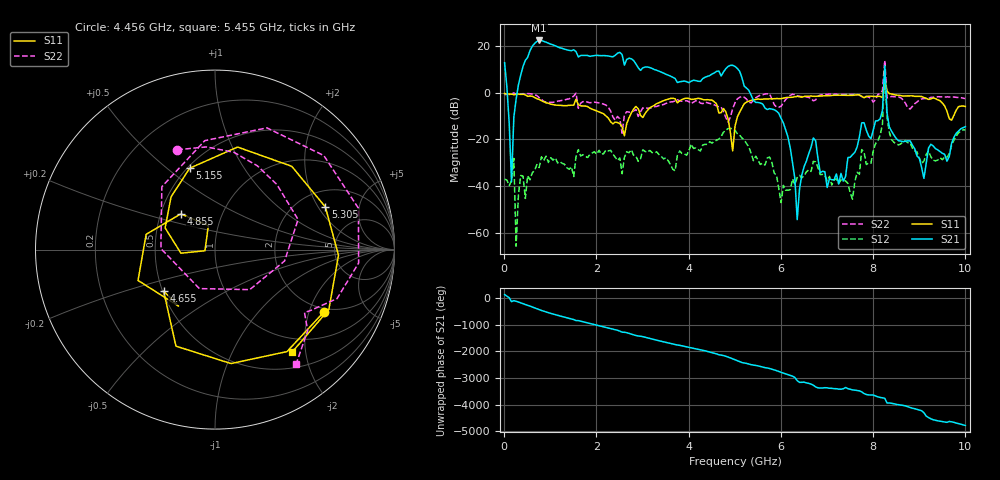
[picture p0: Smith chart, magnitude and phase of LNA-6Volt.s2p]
!Agilent Technologies,N5245A,MY49151071,A.09.90.19
!Agilent N5245A: A.09.90.19
!Date: Friday, June 23, 2023 13:15:27
!Correction: S11(Full 2 Port(1,2))
!S21(Full 2 Port(1,2))
!S12(Full 2 Port(1,2))
!S22(Full 2 Port(1,2))
!S2P File: Measurements: S11, S21, S12, S22:
# Hz S  dB  R 50
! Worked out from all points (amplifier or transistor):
!   201 points, 10 MHz to 10 GHz, reference 50 ohm
!   highest |S21| = 22.5 dB at 759.2 MHz (marker M1)
!   |S21| within 3 dB of that: 595.9 MHz to 1.193 GHz (597.2 MHz wide, 66.8 % of centre)
!   unconditionally stable (mu >= 1): 2.066 GHz to 4.893 GHz; 5.173 GHz to 8.145 GHz; 8.346 GHz to end of sweep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
!   at 1.658 GHz: K = 0.99, MSG = 21.6 dB, |S12| = -27.1 dB
!   at 5.005 GHz: K = 0.92, MSG = 13.7 dB, |S12| = -16.1 dB
!   at 10 GHz: K = 5.41, MAG = -9.6 dB, |S12| = -16.0 dB
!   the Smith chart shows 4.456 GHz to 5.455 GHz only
!   S11 on the Smith chart (normalised r, x): 4.456 GHz: 1.86, -2.53; 4.655 GHz: 0.51, -0.27; 4.855 GHz: 0.63, +0.27; 5.155 GHz: 0.51, +0.60; 5.305 GHz: 2.76, +2.32; 5.455 GHz: 0.75, -1.75
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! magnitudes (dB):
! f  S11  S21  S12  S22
! 10 MHz  -0.3  12.9  -37.0  -0.8
! 159.8 MHz  -0.6  -38.3  -37.7  -0.6
! 209.8 MHz  -0.8  -10.5  -28.2  0.0
! 259.8 MHz  -0.7  -2.7  -65.8  -0.7
! 359.6 MHz  -0.7  7.6  -35.5  -0.6
! 759.2 MHz  -2.8  22.5  -32.1  -2.1
! 1.708 GHz  -5.7  16.0  -26.6  -3.8
! 3.357 GHz  -4.3  9.2  -26.4  -5.5
! 4.456 GHz  -3.1  7.4  -21.0  -4.5
! 4.655 GHz  -8.7  9.3  -19.9  -6.0
! 4.855 GHz  -11.2  11.3  -15.4  -12.6
! 5.005 GHz  -14.4  11.3  -16.1  -4.3
! 5.155 GHz  -6.5  6.5  -19.4  -1.6
! 5.305 GHz  -3.6  1.1  -23.2  -4.0
! 5.455 GHz  -2.9  -4.1  -27.2  -2.2
! 6.054 GHz  -2.3  -13.0  -39.7  -4.3
! 6.354 GHz  -1.5  -54.4  -36.4  -1.3
! 6.703 GHz  -1.5  -19.4  -29.4  -3.4
! 7.552 GHz  -1.1  -26.6  -45.7  -0.8
! 8.252 GHz  5.5  11.6  9.1  13.9
! 8.352 GHz  -0.3  -14.7  -17.0  -2.0
! 10 GHz  -5.9  -14.5  -16.0  -2.5
